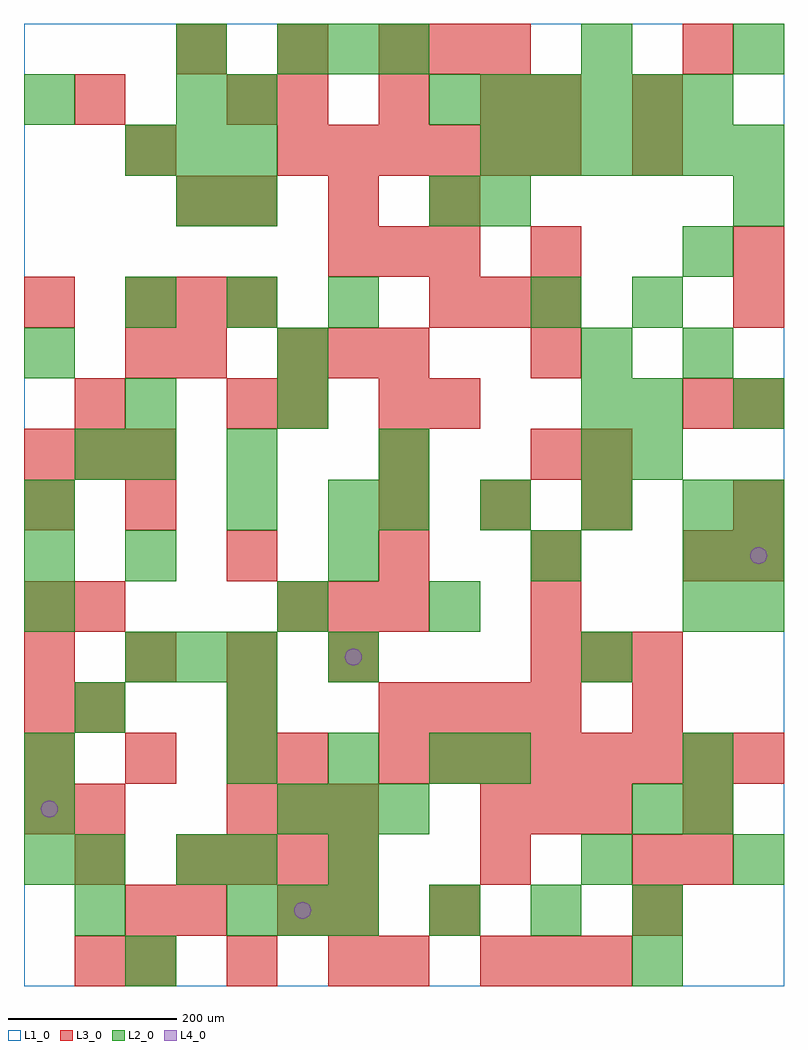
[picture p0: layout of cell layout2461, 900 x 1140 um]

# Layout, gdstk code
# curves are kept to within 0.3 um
import gdstk
lib = gdstk.Library(unit=1e-6, precision=1e-09)
def R(c, l, rs):  # rectangles x0, y0, x1, y1
    for r in rs: c.add(gdstk.rectangle(r[:2], r[2:], *l))
def A(c, l, x, y, w, h, nx, ny, dx, dy):  # array of equal rectangles
    R(c, l, [(x+i*dx, y+j*dy, x+i*dx+w, y+j*dy+h) for i in range(nx) for j in range(ny)])
def P(c, l, *ps):  # polygons
    for p in ps: c.add(gdstk.Polygon(p, *l))
L1_0 = (1, 0)
L2_0 = (2, 0)
L3_0 = (3, 0)
L4_0 = (4, 0)

layout2461 = lib.new_cell('layout2461')
R(layout2461, L1_0, [(0,0,900,1140)])
A(layout2461, L2_0, 240, 60, 60, 60, 3, 1, 60, 0)
A(layout2461, L2_0, 480, 60, 60, 60, 3, 1, 120, 0)
A(layout2461, L2_0, 0, 120, 60, 60, 1, 3, 0, 60)
A(layout2461, L2_0, 660, 120, 60, 60, 1, 3, 0, 240)
A(layout2461, L2_0, 300, 180, 60, 60, 3, 2, 60, 900)
A(layout2461, L2_0, 240, 240, 60, 60, 3, 1, 120, 0)
A(layout2461, L2_0, 120, 360, 60, 60, 3, 2, 60, 600)
A(layout2461, L2_0, 0, 420, 60, 60, 1, 3, 0, 60)
A(layout2461, L2_0, 840, 420, 60, 60, 1, 3, 0, 60)
A(layout2461, L2_0, 120, 480, 60, 60, 3, 1, 240, 0)
A(layout2461, L2_0, 420, 540, 60, 60, 4, 1, 120, 0)
A(layout2461, L2_0, 120, 780, 60, 60, 3, 1, 120, 0)
A(layout2461, L2_0, 540, 960, 60, 60, 6, 1, 60, 0)
A(layout2461, L2_0, 480, 1020, 60, 60, 6, 1, 60, 0)
R(layout2461, L2_0, [(120,0,180,60), (720,0,780,60), (60,60,120,120), (60,120,120,180), (180,120,240,180), (240,120,300,180), (360,120,420,180), (840,120,900,180), (720,180,780,240), (780,180,840,240), (540,240,600,300), (780,240,840,300), (60,300,120,360), (240,300,300,360), (360,360,420,420), (300,420,360,480), (480,420,540,480), (780,420,840,480), (780,480,840,540), (240,540,300,600), (360,540,420,600), (60,600,120,660), (120,600,180,660), (240,600,300,660), (420,600,480,660), (720,600,780,660), (120,660,180,720), (300,660,360,720), (660,660,720,720), (720,660,780,720), (840,660,900,720), (0,720,60,780), (300,720,360,780), (660,720,720,780), (780,720,840,780), (600,780,660,840), (720,780,780,840), (780,840,840,900), (180,900,240,960), (240,900,300,960), (480,900,540,960), (540,900,600,960), (840,900,900,960), (0,1020,60,1080), (180,1020,240,1080), (240,1020,300,1080), (180,1080,240,1140), (660,1080,720,1140), (840,1080,900,1140)])
A(layout2461, L3_0, 120, 0, 60, 60, 3, 1, 120, 0)
A(layout2461, L3_0, 540, 0, 60, 60, 3, 2, 60, 180)
A(layout2461, L3_0, 180, 120, 60, 60, 4, 1, 60, 0)
A(layout2461, L3_0, 0, 180, 60, 60, 1, 4, 0, 120)
A(layout2461, L3_0, 60, 180, 60, 60, 1, 3, 0, 240)
A(layout2461, L3_0, 240, 180, 60, 60, 3, 1, 60, 0)
A(layout2461, L3_0, 0, 240, 60, 60, 3, 1, 120, 0)
A(layout2461, L3_0, 420, 240, 60, 60, 8, 1, 60, 0)
A(layout2461, L3_0, 60, 300, 60, 60, 3, 1, 180, 0)
A(layout2461, L3_0, 480, 300, 60, 60, 3, 2, 60, 480)
A(layout2461, L3_0, 0, 360, 60, 60, 4, 1, 120, 0)
A(layout2461, L3_0, 600, 360, 60, 60, 3, 1, 60, 0)
A(layout2461, L3_0, 300, 420, 60, 60, 3, 2, 60, 300)
A(layout2461, L3_0, 240, 480, 60, 60, 4, 1, 180, 0)
A(layout2461, L3_0, 420, 540, 60, 60, 3, 1, 120, 0)
A(layout2461, L3_0, 840, 540, 60, 60, 1, 3, 0, 120)
A(layout2461, L3_0, 0, 600, 60, 60, 3, 1, 60, 0)
A(layout2461, L3_0, 600, 600, 60, 60, 1, 3, 0, 120)
A(layout2461, L3_0, 120, 780, 60, 60, 3, 1, 60, 0)
A(layout2461, L3_0, 360, 840, 60, 60, 3, 1, 60, 0)
A(layout2461, L3_0, 240, 900, 60, 60, 3, 1, 120, 0)
A(layout2461, L3_0, 300, 960, 60, 60, 6, 1, 60, 0)
A(layout2461, L3_0, 300, 1020, 60, 60, 3, 1, 120, 0)
A(layout2461, L3_0, 180, 1080, 60, 60, 3, 1, 120, 0)
R(layout2461, L3_0, [(60,0,120,60), (420,0,480,60), (120,60,180,120), (180,60,240,120), (300,60,360,120), (360,60,420,120), (480,60,540,120), (720,60,780,120), (60,120,120,180), (540,120,600,180), (720,120,780,180), (780,120,840,180), (780,180,840,240), (300,240,360,300), (720,300,780,360), (600,420,660,480), (840,480,900,540), (120,540,180,600), (420,600,480,660), (660,600,720,660), (240,660,300,720), (300,660,360,720), (420,660,480,720), (480,660,540,720), (780,660,840,720), (120,720,180,780), (180,720,240,780), (0,780,60,840), (840,840,900,900), (180,900,240,960), (120,960,180,1020), (720,960,780,1020), (60,1020,120,1080), (240,1020,300,1080), (600,1020,660,1080), (720,1020,780,1080), (480,1080,540,1140), (540,1080,600,1140), (780,1080,840,1140)])
P(layout2461, L4_0, [(40,210),(39.239,213.827),(37.071,217.071),(33.827,219.239),(30,220),(26.173,219.239),(22.929,217.071),(20.761,213.827),(20,210),(20.761,206.173),(22.929,202.929),(26.173,200.761),(30,200),(33.827,200.761),(37.071,202.929),(39.239,206.173)],
  [(340,90),(339.239,93.827),(337.071,97.071),(333.827,99.239),(330,100),(326.173,99.239),(322.929,97.071),(320.761,93.827),(320,90),(320.761,86.173),(322.929,82.929),(326.173,80.761),(330,80),(333.827,80.761),(337.071,82.929),(339.239,86.173)],
  [(400,390),(399.239,393.827),(397.071,397.071),(393.827,399.239),(390,400),(386.173,399.239),(382.929,397.071),(380.761,393.827),(380,390),(380.761,386.173),(382.929,382.929),(386.173,380.761),(390,380),(393.827,380.761),(397.071,382.929),(399.239,386.173)],
  [(880,510),(879.239,513.827),(877.071,517.071),(873.827,519.239),(870,520),(866.173,519.239),(862.929,517.071),(860.761,513.827),(860,510),(860.761,506.173),(862.929,502.929),(866.173,500.761),(870,500),(873.827,500.761),(877.071,502.929),(879.239,506.173)])

lib.write_gds('layout2461.gds')
